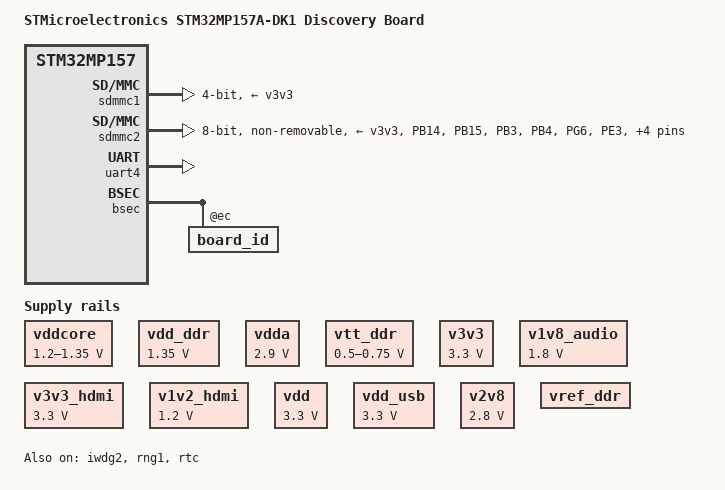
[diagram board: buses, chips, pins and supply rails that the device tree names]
// SPDX-License-Identifier: (GPL-2.0+ OR BSD-3-Clause)
/*
 * Copyright (C) STMicroelectronics 2018-2019 - All Rights Reserved
 * Author: Alexandre Torgue <alexandre.torgue@st.com>.
 */

/dts-v1/;

#include "stm32mp157c.dtsi"
#include "stm32mp157cac-pinctrl.dtsi"

/ {
	model = "STMicroelectronics STM32MP157A-DK1 Discovery Board";
	compatible = "st,stm32mp157a-dk1", "st,stm32mp157";

	aliases {
		serial0 = &uart4;
		serial1 = &usart3;
		serial2 = &uart7;
	};

	chosen {
		stdout-path = "serial0:115200n8";
	};
	vddcore: regulator-vddcore {
		compatible = "regulator-fixed";
		regulator-name = "vddcore";
		regulator-min-microvolt = <1200000>;
		regulator-max-microvolt = <1350000>;
		regulator-always-on;
	};	
	
	vdd_ddr: regulator-vdd-ddr {
		compatible = "regulator-fixed";
		regulator-name = "vdd_ddr";
		regulator-min-microvolt = <1350000>;
		regulator-max-microvolt = <1350000>;
		regulator-always-on;
	};

	vdda: regulator-vvdda {
		compatible = "regulator-fixed";
		regulator-name = "vdda";
		regulator-min-microvolt = <2900000>;
		regulator-max-microvolt = <2900000>;
		regulator-always-on;
	};

	vtt_ddr: regulator-vtt-ddr {
		compatible = "regulator-fixed";
		regulator-name = "vtt_ddr";
		regulator-min-microvolt = <500000>;
		regulator-max-microvolt = <750000>;
		regulator-always-on;
	};

	v3v3: regulator-3p3v {
		compatible = "regulator-fixed";
		regulator-name = "v3v3";
		regulator-min-microvolt = <3300000>;
		regulator-max-microvolt = <3300000>;
		regulator-always-on;
	};

	v1v8_audio: regulator-v1v8-audio {
		compatible = "regulator-fixed";
		regulator-name = "v1v8_audio";
		regulator-min-microvolt = <1800000>;
		regulator-max-microvolt = <1800000>;
		regulator-always-on;
	};

	v3v3_hdmi: regulator-v3v3-hdmi {
		compatible = "regulator-fixed";
		regulator-name = "v3v3_hdmi";
		regulator-min-microvolt = <3300000>;
		regulator-max-microvolt = <3300000>;
		regulator-always-on;
	};

	v1v2_hdmi: regulator-v1v2-hdmi {
		compatible = "regulator-fixed";
		regulator-name = "v1v2_hdmi";
		regulator-min-microvolt = <1200000>;
		regulator-max-microvolt = <1200000>;
		regulator-always-on;
	};

	vdd: regulator-vdd {
		compatible = "regulator-fixed";
		regulator-name = "vdd";
		regulator-min-microvolt = <3300000>;
		regulator-max-microvolt = <3300000>;
		regulator-always-on;
	};

	vdd_usb: regulator-vdd-usb {
		compatible = "regulator-fixed";
		regulator-name = "vdd_usb";
		regulator-min-microvolt = <3300000>;
		regulator-max-microvolt = <3300000>;
		regulator-always-on;
	};

	v2v8: regulator-v2v8 {
		compatible = "regulator-fixed";
		regulator-name = "v2v8";
		regulator-min-microvolt = <2800000>;
		regulator-max-microvolt = <2800000>;
		regulator-always-on;
	};

	vref_ddr: vref_ddr {
		compatible = "regulator-fixed";
		regulator-name = "vref_ddr";
		regulator-always-on;
	};

};

&pinctrl{
		sdmmc2_b4_pins_a: sdmmc2-b4-0 {
			pins1 {
				pinmux = <STM32_PINMUX('B', 14, AF9)>, /* SDMMC2_D0 */
					<STM32_PINMUX('B', 15, AF9)>, /* SDMMC2_D1 */
					<STM32_PINMUX('B', 3, AF9)>, /* SDMMC2_D2 */
					<STM32_PINMUX('B', 4, AF9)>, /* SDMMC2_D3 */
					<STM32_PINMUX('G', 6, AF10)>; /* SDMMC2_CMD */
				slew-rate = <1>;
				drive-push-pull;
				bias-pull-up;
			};
			pins2 {
				pinmux = <STM32_PINMUX('E', 3, AF9)>; /* SDMMC2_CK */
				slew-rate = <2>;
				drive-push-pull;
				bias-pull-up;
			};
		};

		sdmmc2_d47_pins_a: sdmmc2-d47-0 {
			pins {
				pinmux = <STM32_PINMUX('A', 8, AF9)>, /* SDMMC2_D4 */
					<STM32_PINMUX('A', 9, AF10)>, /* SDMMC2_D5 */
					<STM32_PINMUX('C', 6, AF10)>, /* SDMMC2_D6 */
					<STM32_PINMUX('C', 7, AF10)>; /* SDMMC2_D7 */
				slew-rate = <1>;
				drive-push-pull;
				bias-pull-up;
			};
		};
};

&iwdg2 {
	timeout-sec = <32>;
	status = "okay";
};

&pwr {
	pwr-regulators {
		vdd-supply = <&vdd>;
	};
};

&rng1 {
	status = "okay";
};

&rtc {
	status = "okay";
};

&sdmmc1 {
	pinctrl-names = "default";
	pinctrl-0 = <&sdmmc1_b4_pins_a>;
	broken-cd;
	st,neg-edge;
	bus-width = <4>;
	vmmc-supply = <&v3v3>;
	status = "okay";
};

&sdmmc2 {
	pinctrl-names = "default";
	pinctrl-0 = <&sdmmc2_b4_pins_a &sdmmc2_d47_pins_a>;
	non-removable;
	no-sd;
	no-sdio;
	st,neg-edge;
	bus-width = <8>;
	vmmc-supply = <&v3v3>;
	vqmmc-supply = <&v3v3>;
	mmc-ddr-3_3v;
	status = "okay";
};

&uart4 {
	pinctrl-names = "default";
	pinctrl-0 = <&uart4_pins_a>;
	status = "okay";
};

&uart7 {
	pinctrl-names = "default";
	pinctrl-0 = <&uart7_pins_a>;
	status = "disabled";
};

&usart3 {
	pinctrl-names = "default";
	pinctrl-0 = <&usart3_pins_b>;
	status = "disabled";
};


/* ATF Specific */
#include <dt-bindings/clock/stm32mp1-clksrc.h>
#include <dt-bindings/power/stm32mp1-power.h>
#include "stm32mp15-ddr3-2x4Gb-1066-binG.dtsi"
#include "stm32mp157c-security.dtsi"

/ {
	aliases {
		gpio0 = &gpioa;
		gpio1 = &gpiob;
		gpio2 = &gpioc;
		gpio3 = &gpiod;
		gpio4 = &gpioe;
		gpio5 = &gpiof;
		gpio6 = &gpiog;
		gpio7 = &gpioh;
		gpio8 = &gpioi;
		gpio25 = &gpioz;
		i2c3 = &i2c4;
	};
};

/* CLOCK init */
&rcc {
	secure-status = "okay";
	st,hsi-cal;
	st,csi-cal;
	st,cal-sec = <60>;
	st,clksrc = <
		CLK_MPU_PLL1P
		CLK_AXI_PLL2P
		CLK_MCU_PLL3P
		CLK_PLL12_HSE
		CLK_PLL3_HSE
		CLK_PLL4_HSE
		CLK_RTC_LSE
		CLK_MCO1_DISABLED
		CLK_MCO2_DISABLED
	>;

	st,clkdiv = <
		1 /*MPU*/
		0 /*AXI*/
		0 /*MCU*/
		1 /*APB1*/
		1 /*APB2*/
		1 /*APB3*/
		1 /*APB4*/
		2 /*APB5*/
		23 /*RTC*/
		0 /*MCO1*/
		0 /*MCO2*/
	>;

	st,pkcs = <
		CLK_CKPER_HSE
		CLK_FMC_ACLK
		CLK_QSPI_ACLK
		CLK_ETH_DISABLED
		CLK_SDMMC12_PLL4P
		CLK_DSI_DSIPLL
		CLK_STGEN_HSE
		CLK_USBPHY_HSE
		CLK_SPI2S1_PLL3Q
		CLK_SPI2S23_PLL3Q
		CLK_SPI45_HSI
		CLK_SPI6_HSI
		CLK_I2C46_HSI
		CLK_SDMMC3_PLL4P
		CLK_USBO_USBPHY
		CLK_ADC_CKPER
		CLK_CEC_LSE
		CLK_I2C12_HSI
		CLK_I2C35_HSI
		CLK_UART1_HSI
		CLK_UART24_HSI
		CLK_UART35_HSI
		CLK_UART6_HSI
		CLK_UART78_HSI
		CLK_SPDIF_PLL4P
		CLK_FDCAN_PLL4R
		CLK_SAI1_PLL3Q
		CLK_SAI2_PLL3Q
		CLK_SAI3_PLL3Q
		CLK_SAI4_PLL3Q
		CLK_RNG1_LSI
		CLK_RNG2_LSI
		CLK_LPTIM1_PCLK1
		CLK_LPTIM23_PCLK3
		CLK_LPTIM45_LSE
	>;

	/* VCO = 1066.0 MHz => P = 266 (AXI), Q = 533 (GPU), R = 533 (DDR) */
	pll2: st,pll@1 {
		cfg = < 2 65 1 0 0 PQR(1,1,1) >;
		frac = < 0x1400 >;
	};

	/* VCO = 417.8 MHz => P = 209, Q = 24, R = 11 */
	pll3: st,pll@2 {
		cfg = < 1 33 1 16 36 PQR(1,1,1) >;
		frac = < 0x1a04 >;
	};

	/* VCO = 594.0 MHz => P = 99, Q = 74, R = 74 */
	pll4: st,pll@3 {
		cfg = < 3 98 5 7 7 PQR(1,1,1) >;
	};
};

/* Security specific */
&bsec {
	board_id: board_id@ec {
		reg = <0xec 0x4>;
		st,non-secure-otp;
	};
};

&etzpc {
	st,decprot = <
		DECPROT(STM32MP1_ETZPC_USART1_ID, DECPROT_NS_RW, DECPROT_UNLOCK)
		DECPROT(STM32MP1_ETZPC_SPI6_ID, DECPROT_NS_RW, DECPROT_UNLOCK)
		DECPROT(STM32MP1_ETZPC_I2C4_ID, DECPROT_NS_RW, DECPROT_UNLOCK)
		DECPROT(STM32MP1_ETZPC_I2C6_ID, DECPROT_NS_RW, DECPROT_UNLOCK)
		DECPROT(STM32MP1_ETZPC_RNG1_ID, DECPROT_NS_RW, DECPROT_UNLOCK)
		DECPROT(STM32MP1_ETZPC_HASH1_ID, DECPROT_NS_RW, DECPROT_UNLOCK)
		DECPROT(STM32MP1_ETZPC_CRYP1_ID, DECPROT_NS_RW, DECPROT_UNLOCK)
	>;
};

&iwdg2 {
	secure-status = "okay";
};

&nvmem_layout {
	nvmem-cells = <&part_number_otp>,
		      <&monotonic_otp>,
		      <&nand_otp>,
		      <&uid_otp>,
		      <&package_otp>,
		      <&hw2_otp>,
		      <&board_id>;

	nvmem-cell-names = "part_number_otp",
			   "monotonic_otp",
			   "nand_otp",
			   "uid_otp",
			   "package_otp",
			   "hw2_otp",
			   "board_id";
};

&pwr {
	system_suspend_supported_soc_modes = <
		STM32_PM_CSLEEP_RUN
		STM32_PM_CSTOP_ALLOW_LP_STOP
		STM32_PM_CSTOP_ALLOW_STANDBY_DDR_SR
	>;

	system_off_soc_mode = <STM32_PM_CSTOP_ALLOW_STANDBY_DDR_OFF>;
};

&timers15 {
	secure-status = "okay";
	st,hsi-cal-input = <7>;
	st,csi-cal-input = <8>;
};

/* Low-power states of regulators */
&vddcore {
	lp-stop {
		regulator-on-in-suspend;
		regulator-suspend-microvolt = <1200000>;
	};
	standby-ddr-sr {
		regulator-off-in-suspend;
	};
	standby-ddr-off {
		regulator-off-in-suspend;
	};
};

&vdd_ddr {
	lp-stop {
		regulator-suspend-microvolt = <1350000>;
		regulator-on-in-suspend;
	};
	standby-ddr-sr {
		regulator-suspend-microvolt = <1350000>;
		regulator-on-in-suspend;
	};
	standby-ddr-off {
		regulator-off-in-suspend;
	};
};

&vdd {
	lp-stop {
		regulator-suspend-microvolt = <3300000>;
		regulator-on-in-suspend;
	};
	standby-ddr-sr {
		regulator-suspend-microvolt = <3300000>;
		regulator-on-in-suspend;
	};
	standby-ddr-off {
		regulator-suspend-microvolt = <3300000>;
		regulator-on-in-suspend;
	};
};

&v3v3 {
	lp-stop {
		regulator-suspend-microvolt = <3300000>;
		regulator-on-in-suspend;
	};
	standby-ddr-sr {
		regulator-off-in-suspend;
	};
	standby-ddr-off {
		regulator-off-in-suspend;
	};
};

&v1v8_audio {
	standby-ddr-sr {
		regulator-off-in-suspend;
	};
	standby-ddr-off {
		regulator-off-in-suspend;
	};
};

&v3v3_hdmi {
	standby-ddr-sr {
		regulator-off-in-suspend;
	};
	standby-ddr-off {
		regulator-off-in-suspend;
	};
};

&vtt_ddr {
	lp-stop {
		regulator-off-in-suspend;
	};
	standby-ddr-sr {
		regulator-off-in-suspend;
	};
	standby-ddr-off {
		regulator-off-in-suspend;
	};
};

&vdd_usb {
	standby-ddr-sr {
		regulator-off-in-suspend;
	};
	standby-ddr-off {
		regulator-off-in-suspend;
	};
};

&vdda {
	standby-ddr-sr {
		regulator-off-in-suspend;
	};
	standby-ddr-off {
		regulator-off-in-suspend;
	};
};

&v1v2_hdmi {
	standby-ddr-sr {
		regulator-off-in-suspend;
	};
	standby-ddr-off {
		regulator-off-in-suspend;
	};
};

&vref_ddr {
	lp-stop {
		regulator-on-in-suspend;
	};
	standby-ddr-sr {
		regulator-on-in-suspend;
	};
	standby-ddr-off {
		regulator-off-in-suspend;
	};
};
